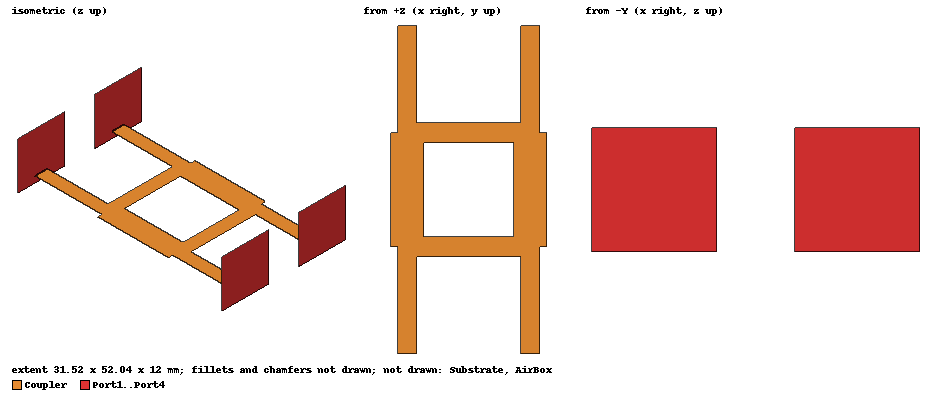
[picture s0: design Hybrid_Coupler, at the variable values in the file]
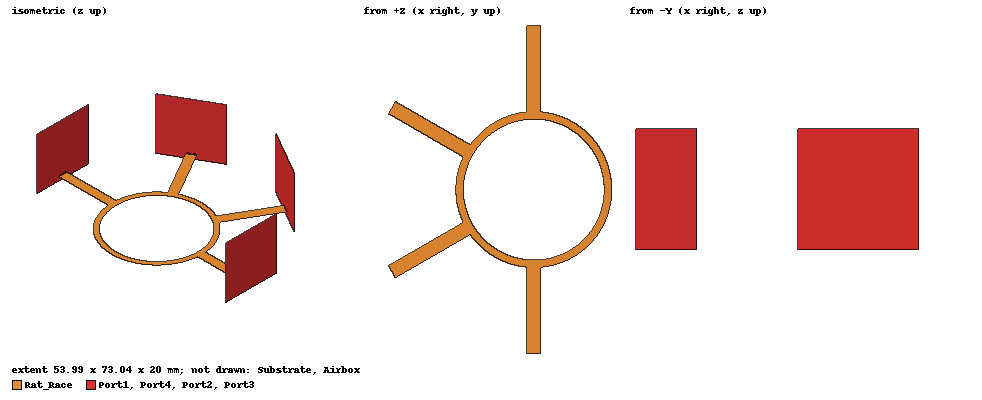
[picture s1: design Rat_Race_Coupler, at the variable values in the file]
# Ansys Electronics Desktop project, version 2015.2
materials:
  FR4_epoxy_4.1: permittivity=4.1 dielectric_loss_tangent=0.01
  vacuum: permittivity=1

design Hybrid_Coupler (HFSS, DrivenModal, model units mm)
options: Calculate_Lossy_Dielectrics
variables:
  subx = 40mm
  suby = 2*feed_line_length+coupler_y_length
  subh = 62mil
  feed_line_width = 3.1279mm
  feed_line_length = 17mm
  coupler_x_width = 3.1279mm
  coupler_y_width = 5.272mm
  coupler_x_length = 19.519mm
  coupler_y_length = 18.036mm
  portx = 12mm
  portz = 12mm
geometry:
  Substrate [FR4_epoxy_4.1] = box(corner=(-subx/2, -suby/2, 0mm), size=(subx, suby, -subh))
  Feed_Line1 = rectangle(corner=(-coupler_x_length/2-feed_line_width/2, -suby/2, 0mm), x_size=feed_line_width, y_size=feed_line_length)
  Coupler_Y_Section = rectangle(corner=(coupler_x_length/2-coupler_y_width/2, -coupler_y_length/2, 0mm), x_size=coupler_y_width, y_size=coupler_y_length)
  Coupler = rectangle(corner=(-coupler_x_length/2, -coupler_y_length/2-coupler_x_width/2, 0mm), x_size=coupler_x_length, y_size=coupler_x_width)
  Coupler_X_Section1 = rectangle(corner=(-coupler_x_length/2, coupler_y_length/2-coupler_x_width/2, 0mm), x_size=coupler_x_length, y_size=coupler_x_width)
  Coupler_Y_Section1 = rectangle(corner=(-coupler_x_length/2-coupler_y_width/2, -coupler_y_length/2, 0mm), x_size=coupler_y_width, y_size=coupler_y_length)
  Feed_Line2 = rectangle(corner=(-coupler_x_length/2-feed_line_width/2, suby/2, 0mm), x_size=feed_line_width, y_size=-feed_line_length)
  Feed_Line3 = rectangle(corner=(coupler_x_length/2-feed_line_width/2, suby/2, 0mm), x_size=feed_line_width, y_size=-feed_line_length)
  Feed_Line4 = rectangle(corner=(coupler_x_length/2-feed_line_width/2, -suby/2, 0mm), x_size=feed_line_width, y_size=feed_line_length)
  Coupler_Y_Section1.chamfer(Vertices=Coupler.vertex(1 of 4) LeftDistance=(coupler_y_width-feed_line_width)/2 RightDistance=(coupler_y_width-feed_line_width)/2 ChamferType=Symmetric)
  Coupler_Y_Section1.chamfer(Vertices=Coupler.vertex(4 of 4) LeftDistance=(coupler_y_width-feed_line_width)/2 RightDistance=(coupler_y_width-feed_line_width)/2 ChamferType=Symmetric)
  Coupler_Y_Section.chamfer(Vertices=Coupler.vertex(3 of 4) LeftDistance=(coupler_y_width-feed_line_width)/2 RightDistance=(coupler_y_width-feed_line_width)/2 ChamferType=Symmetric)
  Coupler_Y_Section.chamfer(Vertices=Coupler.vertex(2 of 4) LeftDistance=(coupler_y_width-feed_line_width)/2 RightDistance=(coupler_y_width-feed_line_width)/2 ChamferType=Symmetric)
  Coupler.unite(Coupler_X_Section1, Coupler_Y_Section, Coupler_Y_Section1, Feed_Line1..Feed_Line4)
  AirBox [vacuum] = box(corner=(-subx/2, -suby/2, 0mm), size=(subx, suby, 20mm))
  Port1 = rectangle(corner=(-portx/2-coupler_x_length/2, -suby/2, -subh), z_size=portz, x_size=portx)
  Port2 = rectangle(corner=(-portx/2-coupler_x_length/2, suby/2, -subh), z_size=portz, x_size=portx)
  Port3 = rectangle(corner=(-portx/2+coupler_x_length/2, suby/2, -subh), z_size=portz, x_size=portx)
  Port4 = rectangle(corner=(-portx/2+coupler_x_length/2, -suby/2, -subh), z_size=portz, x_size=portx)
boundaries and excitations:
  PerfE1: Perfect E Objects=Coupler
  Rad1: Radiation Faces=Substrate.face(-y, -x, +y, +x) AirBox.face(+z, -y, -x, +y, +x)
  1: Wave Port Objects=Port1 NumModes=1 DeembedDist=15mm Modes{Mode1{IntLine{middle of Port1.edge(z at corner) -> middle of Port1.edge(z opposite corner)} CharImp=Zpi}}
  2: Wave Port Objects=Port2 NumModes=1 DeembedDist=15mm Modes{Mode1{IntLine{middle of Port2.edge(z at corner) -> middle of Port2.edge(z opposite corner)} CharImp=Zpi}}
  3: Wave Port Objects=Port3 NumModes=1 DeembedDist=15mm Modes{Mode1{IntLine{middle of Port3.edge(z at corner) -> middle of Port3.edge(z opposite corner)} CharImp=Zpi}}
  4: Wave Port Objects=Port4 NumModes=1 DeembedDist=15mm Modes{Mode1{IntLine{middle of Port4.edge(z at corner) -> middle of Port4.edge(z opposite corner)} CharImp=Zpi}}
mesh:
  initial mesh: GlobalSurfApproximation{SurfDevChoice=0 NormalDevChoice=1 AspectRatioChoice=1 SetFacePreservationLevel=0}
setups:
  Setup1: HfssDriven Frequency=2.5GHz MaxDeltaS=0.01 MaximumPasses=20 MinimumPasses=1 MinimumConvergedPasses=2 PercentRefinement=30 BasisOrder=1 PortAccuracy=2
    sweep Sweep: 1GHz to 5GHz step 0.001GHz; Type=Interpolating InterpTolerance=0.5 InterpMaxSolns=250 InterpUsePortImped=false InterpUsePropConst=false
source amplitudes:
  1:1: 1W 0deg
  2:1, 3:1, 4:1: 0W 0deg
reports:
  Input_Port1_S_Parameters_dB: ang_deg(S(1,1)), ang_deg(S(2,1)), ang_deg(S(3,1)), ang_deg(S(4,1)) vs Freq on Setup1 : Sweep; markers S21 at 2.5GHz, S22 at 2.5GHz, S23 at 2.5GHz, S24 at 2.5GHz
  Input_Port1_90deg_Phase_Difference: cang_deg(S(2,1))-cang_deg(S(3,1)) vs Freq on Setup1 : Sweep; markers m1 at 2.5GHz
  Port_Matching_S_Parameters_dB: ang_deg(S(2,2)), ang_deg(S(3,3)), ang_deg(S(4,4)), ang_deg(S(1,1)) vs Freq on Setup1 : Sweep

design Rat_Race_Coupler (HFSS, DrivenModal, model units mm)
options: Calculate_Lossy_Dielectrics
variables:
  subx = 60mm
  suby = 2*feed_line_length+2*rat_race_radius
  subh = 62mil
  rat_race_radius = rat_race_circumference/(2*pi)
  feed_line_width = 3.1279mm
  rat_race_line_width = 1.675mm
  feed_line_length = 20mm
  port_width = 20mm
  portz = 20mm
  rat_race_circumference = 103.8mm
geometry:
  Substrate [FR4_epoxy_4.1] = box(corner=(-(rat_race_radius+feed_line_length)*sin(60*pi/180)-port_width*cos(60*pi/180)/2, -suby/2, 0mm), size=(subx, suby, -subh))
  Circle1 = circle(normal=Z, centre=(0mm, 0mm, 0mm), radius=rat_race_radius-rat_race_line_width/2)
  Rat_Race = circle(normal=Z, centre=(0mm, 0mm, 0mm), radius=rat_race_radius+rat_race_line_width/2)
  Rat_Race.subtract(Circle1)
  Feed_Line = rectangle(corner=(-feed_line_width/2, -suby/2, 0mm), x_size=feed_line_width, y_size=feed_line_length)
  Feed_Line_1, Feed_Line_2, Feed_Line_3 = Feed_Line.duplicate_around_axis(axis=Z, angle=-60deg, total=4)
  Rat_Race.unite(Feed_Line, Feed_Line_1, Feed_Line_2, Feed_Line_3)
  Polyline1 = polyline(z=-subh, xy: (-(rat_race_radius+feed_line_length)*sin(60*pi/180)-port_width*cos(60*pi/180)/2, -(rat_race_radius+feed_line_length)*cos(60*pi/180)+port_width*sin(60*pi/180)/2) (-(rat_race_radius+feed_line_length)*sin(60*pi/180)+(suby/2-(rat_race_radius+feed_line_length)*cos(60*pi/180))*tan(30*pi/180), -suby/2) (-(rat_race_radius+feed_line_length)*sin(60*pi/180)-port_width*cos(60*pi/180)/2, -suby/2) (-(rat_race_radius+feed_line_length)*sin(60*pi/180)-port_width*cos(60*pi/180)/2, -(rat_race_radius+feed_line_length)*cos(60*pi/180)+port_width*sin(60*pi/180)/2), closed, covered)
  Polyline1.sweep_along_vector((0mm, 0mm, subh+20mm))
  Polyline1_1 = Polyline1.duplicate_mirror(point=(0mm, 0mm, 0mm), normal=(0mm, 1mm, 0mm))
  Airbox [vacuum] = box(corner=(-(rat_race_radius+feed_line_length)*sin(60*pi/180)-port_width*cos(60*pi/180)/2, -suby/2, 0mm), size=(subx, suby, 20mm))
  Polyline1_2 = Polyline1.copy()
  Polyline1_1_1 = Polyline1_1.copy()
  Airbox.subtract(Polyline1_2, Polyline1_1_1)
  Substrate.subtract(Polyline1, Polyline1_1)
  Port1 = rectangle(corner=(-port_width/2, -suby/2, -subh), z_size=portz, x_size=port_width)
  Port2, Port3, Port4 = Port1.duplicate_around_axis(axis=Z, angle=-60deg, total=4)
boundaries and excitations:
  PerfE1: Perfect E Objects=Rat_Race
  Rad1: Radiation Faces=Substrate.face(-y, -x, +y, +x, at (-28.8562, 23.0601, -0.7874), at (-28.8562, -23.0601, -0.7874)) Airbox.face(+z, -y, -x, +y, +x, at (-28.8562, 23.0601, 10), at (-28.8562, -23.0601, 10))
  4: Wave Port Objects=Port1 NumModes=1 DeembedDist=15mm Modes{Mode1{IntLine{middle of Port1.edge(z at corner) -> middle of Port1.edge(z opposite corner)} CharImp=Zpi}}
  3: Wave Port Objects=Port2 NumModes=1 DeembedDist=15mm Modes{Mode1{IntLine{middle of Port2.edge(4 of 4) -> middle of Port2.edge(2 of 4)} CharImp=Zpi}}
  1: Wave Port Objects=Port3 NumModes=1 DeembedDist=15mm Modes{Mode1{IntLine{middle of Port3.edge(4 of 4) -> middle of Port3.edge(2 of 4)} CharImp=Zpi}}
  2: Wave Port Objects=Port4 NumModes=1 DeembedDist=15mm Modes{Mode1{IntLine{middle of Port4.edge(4 of 4) -> middle of Port4.edge(2 of 4)} CharImp=Zpi}}
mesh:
  initial mesh: GlobalSurfApproximation{SurfDevChoice=0 NormalDevChoice=1 AspectRatioChoice=1 SetFacePreservationLevel=0}
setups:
  Setup1: HfssDriven Frequency=2.5GHz MaxDeltaS=0.01 MaximumPasses=20 MinimumPasses=1 MinimumConvergedPasses=2 PercentRefinement=30 BasisOrder=1 PortAccuracy=2
    sweep Sweep: 1GHz to 5GHz step 0.001GHz; Type=Interpolating InterpTolerance=0.5 InterpMaxSolns=250 InterpUsePortImped=false InterpUsePropConst=false
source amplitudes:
  4:1: 1W 0deg
  3:1, 1:1, 2:1: 0W 0deg
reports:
  Input_Port1_S_Parameters_dB: dB(S(2,1)), dB(S(2,3)), dB(S(2,2)), dB(S(2,4)) vs Freq on Setup1 : Sweep
  Port_Matching_S_Parameters_dB: ang_deg(S(1,1)), ang_deg(S(2,2)), ang_deg(S(3,3)), ang_deg(S(4,4)) vs Freq on Setup1 : Sweep
